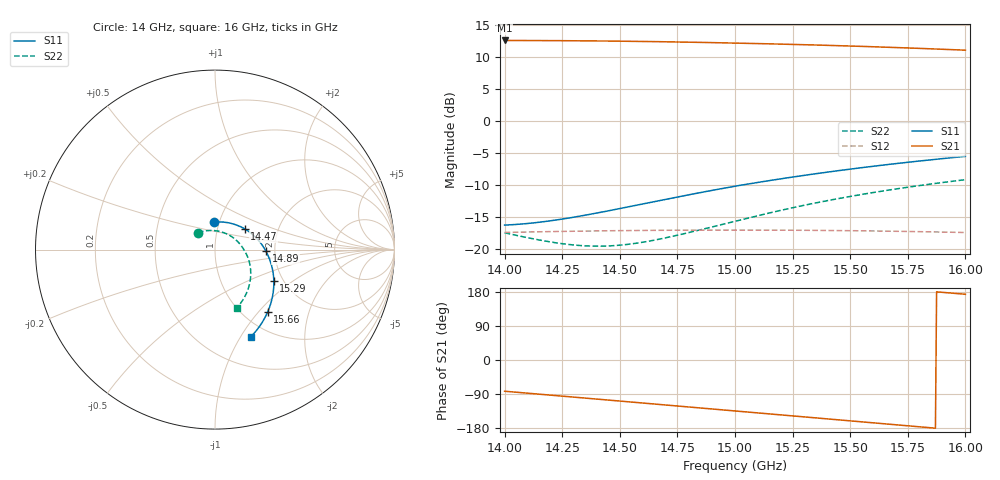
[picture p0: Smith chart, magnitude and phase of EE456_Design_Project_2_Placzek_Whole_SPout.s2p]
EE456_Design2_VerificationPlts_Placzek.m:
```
%-------------------------------------------------------------------
clc
close all
clear
%-------------------------------------------------------------------
G = 10^+9;
M = 10^+6;
%-------------------------------------------------------------------
% Problem Values
%-------------------------------------------------------------------
Z0 = 50;
ZT = 50;
f_min = 14*G;
f0 = 15*G;
f_max = 16*G;
df = 5*M;
theta_P = 90;

Input = 1;
theta_I1 = 43.2481;
theta_I2 = 10.4170;
Output = 3;
theta_O1 = 31.2559;
theta_O2 = 53.5158;
%-------------------------------------------------------------------
% Graph Formnating
%-------------------------------------------------------------------
NF = 28;
IFigure = 0;
P1=8;
M1=2*P1;
P2=P1/2;
M2=2*P2;
%-------------------------------------------------------------------
%  ADS DATA IN
%-------------------------------------------------------------------
[freq_MGF, S_MGF, Mult, ~, freq_Noise, Fmin_f_dB, Gamma_OPT_f, rn_f] = Read_SParam_s2p('MGF4941AL.s2p');
freq_MGF = freq_MGF * Mult;
I_f0S_MGF = ismember(freq_MGF, f0);
freq_Noise = freq_Noise * Mult;
In_f0S_MGF = ismember(freq_Noise, f0);

opts = delimitedTextImportOptions("NumVariables", 2);
opts.DataLines = [2, Inf];
opts.Delimiter = ",";
opts.VariableNames = ["freqReferencesnf2DependencyfreqNumPoints401MatrixSizeScalarType", "nf2ReferencesDependencyfreqNumPoints401MatrixSizeScalarTypeReal"];
opts.VariableTypes = ["double", "double"];
opts.ExtraColumnsRule = "ignore";
opts.EmptyLineRule = "read";
opts = setvaropts(opts, "freqReferencesnf2DependencyfreqNumPoints401MatrixSizeScalarType", "TrimNonNumeric", true);
opts = setvaropts(opts, "freqReferencesnf2DependencyfreqNumPoints401MatrixSizeScalarType", "ThousandsSeparator", ",");

% Import the data
ADS_Noise_Table = readtable("C:\Users\Adminimal\Documents\MATLAB\WNE_Matlab\bullshizzle\EE456_Dp2_Placzek_Finalrev\Noise_Data_Exported_From_ADS.csv", opts);
clear opts
bits=table2array(ADS_Noise_Table);
N=length(bits);
freq_noise_bs = transpose(bits(1:N,1));
FN_DB=transpose(bits(1:N,2));

% Import the data
% [~, S_IMN_ADS, ~] = Read_SParam_s2p('IMN Plot.s2p');
[~, S_IMN_ADS, ~] = Read_SParam_s2p('EE456_Design_Project_2_Placzek_IMN.s2p');
Gamma_S_ADS = S_IMN_ADS(:, 2, 2);

% Import the data
[freq_ADS, S_ADS, Mult_ADS, S_Type, bs, Fmin_dB_ADS, Gamma_OPT_ADS, rn_ADS] = Read_SParam_s2p('EE456_Design_Project_2_Placzek_Whole_SPout.s2p');
freq_ADS = freq_ADS * Mult_ADS;
I_f0_ADS = find(freq_ADS == f0);

% Import the data
[~, S_IMN_ADS, ~] = Read_SParam_s2p('EE456_Design_Project_2_Placzek_IMN.s2p');
Gamma_S_ADS = S_IMN_ADS(:, 2, 2);

% Import the data
[~, S_OMN_ADS, ~] = Read_SParam_s2p('EE456_Design_Project_2_Placzek_OMN.s2p');
Gamma_L_ADS = S_OMN_ADS(:, 1, 1);

% Import the data
[~, S_In_ADS, ~] = Read_SParam_s2p('EE456_Design_Project_2_Placzek_In.s2p');
Gamma_in_ADS = S_In_ADS(:, 1, 1);

% Import the data
[~, S_Out_ADS, ~] =  Read_SParam_s2p('EE456_Design_Project_2_Placzek_Out.s2p');
Gamma_out_ADS = S_Out_ADS(:, 2, 2);


%-------------------------------------------------------------------

S11 = S_MGF(:, 1, 1);
S11_Mag = abs(S11);
S11_dB = 20*log10(S11_Mag);
S21 = S_MGF(:, 2, 1);
S21_Mag = abs(S21);
S21_dB = 20*log10(S21_Mag);
S22 = S_MGF(:, 2, 2);
S22_Mag = abs(S22);
S22_dB = 20*log10(S22_Mag);
S12 = S_MGF(:, 1, 2);
S12_Mag = abs(S12);
S12_dB = 20*log10(S12_Mag);
%-------------------------------------------------------------------
S_f0(1:2, 1:2) = S_MGF(I_f0S_MGF, :, :);
S11_f0 = S11(I_f0S_MGF);
S11_f0_dB = S11_dB(I_f0S_MGF);
S21_f0 = S21(I_f0S_MGF);
S21_f0_dB = S21_dB(I_f0S_MGF);
S22_f0 = S22(I_f0S_MGF);
S22_f0_dB = S22_dB(I_f0S_MGF);
S12_f0 = S12(I_f0S_MGF);
S12_f0_dB = S12_dB(I_f0S_MGF);
S21_f0_Mag = abs(S21_f0);

%-------------------------------------------------------------------


%-------------------------------------------------------------------
S_MGF_f0(1:2, 1:2) = S_MGF(I_f0S_MGF, :, :);
S21_MGF_f0 = S_MGF_f0(2, 1);
S21_MGF_f0_Mag = abs(S21_MGF_f0);
S21_MGF_f0_dB = 20*log10(S21_MGF_f0_Mag);
Fmin_dB = Fmin_f_dB(In_f0S_MGF);

%-------------------------------------------------------------------
freq_MAT = f_min : df : f_max;
freq_MAT = freq_MAT';
I_f0_MAT = ismember(freq_MAT, f0);
N_Freq = length(freq_MAT);
S_MAT = zeros(N_Freq, 2, 2);
F_MAT_dB = zeros(size(freq_MAT));
Gamma_S_x = F_MAT_dB;

%------------------------------------------------------------------
% Cascading
% Input Matching Network,
% Device
% Output Matching Network
%-------------------------------------------------------------------
for kk = 1 : N_Freq
fk = freq_MAT(kk);
theta_P_fk = (fk / f0) * theta_P;
theta_I1_fk = (fk / f0) * theta_I1;
theta_I2_fk = (fk / f0) * theta_I2;
theta_O1_fx = (fk / f0) * theta_O1;
theta_O2_fx = (fk / f0) * theta_O2;
T0 =  EE456_ABCD_TRL(Z0, theta_P_fk);
TI1 = EE456_ABCD_Shunt_OC_Stub(Z0, theta_I1_fk);
TI2 = EE456_ABCD_TRL(Z0, theta_I2_fk);
TO2 = EE456_ABCD_TRL(Z0, theta_O2_fx);
TO1 = EE456_ABCD_Shunt_OC_Stub(Z0, theta_O1_fx);
T_IMN = T0*T0*TI1*TI2;
T_OMN = TO2*TO1*T0*T0;
Sx = S_Param_Interp(S_MGF, freq_MGF, fk);
Tx = S_to_ABCD(Sx, Z0);
T = T_IMN*Tx*T_OMN;
S_MAT(kk, :, :) = ABCD_to_S(T, [Z0 Z0]);
S_IMN = ABCD_to_S(T_IMN, Z0);
S_OMN = ABCD_to_S(T_OMN, Z0);
Gamma_S_x(kk) = S_IMN(2, 2);
Gamma_L_x(kk) = S_OMN(2, 2);
[Fmin_dB_x, Gamma_OPT_x, rn_x] = NF_Param_Interp(Fmin_f_dB, Gamma_OPT_f, rn_f, freq_Noise, fk);
Temp_Fmin_dB_x(kk)=Fmin_dB_x;
Temp_Gamma_OPT_x(kk)=Gamma_OPT_x;
Temp_rn_x(kk)=rn_x;

F_MAT_dB(kk) = F_Amp_Calc(Fmin_dB_x, rn_x, Gamma_OPT_x, Gamma_S_x(kk));
end
%-------------------------------------------------------------------

S11_MAT = S_MAT(:, 1, 1);
S11_MAT_Mag = abs(S11_MAT);
S11_MAT_dB = 20*log10(S11_MAT_Mag);
S21_MAT = S_MAT(:, 2, 1);
S21_MAT_Mag = abs(S21_MAT);
S21_MAT_dB = 20*log10(S21_MAT_Mag);
S22_MAT = S_MAT(:, 2, 2);
S22_MAT_Mag = abs(S22_MAT);
S22_MAT_dB = 20*log10(S22_MAT_Mag);
S12_MAT = S_MAT(:, 1, 2);
S12_MAT_Mag = abs(S12_MAT);
S12_MAT_dB = 20*log10(S12_MAT_Mag);

A=transpose(Gamma_S_x);
[x_Index, VI, Percent_Diff]=Find_Closest_Value(freq_MAT,f0);
Gamma_S_MAT_f0=A(VI);
A=transpose(Gamma_L_x);
Gamma_L_MAT_f0=A(VI);

%-------------------------------------------------------------------

S_MAT_f0(1:2, 1:2) = S_MAT(I_f0_MAT, :, :);
S11_MAT_f0 = S11_MAT(I_f0_MAT);
S11_MAT_f0_dB = S11_MAT_dB(I_f0_MAT);
S21_MAT_f0 = S21_MAT(I_f0_MAT);
S21_MAT_f0_dB = S21_MAT_dB(I_f0_MAT);
S22_MAT_f0 = S22_MAT(I_f0_MAT);
S22_MAT_f0_dB = S22_MAT_dB(I_f0_MAT);
S12_MAT_f0 = S12_MAT(I_f0_MAT);
S12_MAT_f0_dB = S12_MAT_dB(I_f0_MAT);
S21_MAT_f0_Mag = abs(S21_MAT_f0);
F_MAT_f0_dB = F_MAT_dB(I_f0_MAT);
Gamma_S_MAT = Gamma_S_x(I_f0_MAT);
Gamma_out_MAT_f0 = S22_MAT_f0 + (S12_MAT_f0 .* S21_MAT_f0 .* Gamma_S_MAT_f0) ./ (1 - S11_MAT_f0 .* Gamma_S_MAT_f0);
Gamma_in_MAT_f0 =S11_MAT_f0+(S12_MAT_f0.*S21_MAT_f0.*Gamma_L_MAT_f0)./(1-S22_MAT_f0.*Gamma_L_MAT_f0);

%-------------------------------------------------------------------

MGamma_IMN_MAT = S11_MAT_f0;
MGamma_IMN_MAT_db = 20*log10(MGamma_IMN_MAT);
%-------------------------------------------------------------------
MGamma_OMN_MAT = S22_MAT_f0;
MGamma_OMN_MAT_db = 20*log10(MGamma_OMN_MAT);
%-------------------------------------------------------------------
Num = 1 + S11_MAT_Mag;
Den = 1 - S11_MAT_Mag;
VSWR_IMN_MAT = Num ./ Den;
Num_OMN = 1 + S22_MAT_Mag;
Den_OMN = 1 - S22_MAT_Mag;
VSWR_OMN_MAT = Num_OMN ./ Den_OMN;
%-------------------------------------------------------------------
VSWR_IMN_MAT_f0 = VSWR_IMN_MAT(I_f0_MAT);
VSWR_OMN_MAT_f0 = VSWR_OMN_MAT(I_f0_MAT);
%-------------------------------------------------------------------
GT_MAT = abs(S21_MAT_f0)^2;
GTdb_MAT = 10*log10(GT_MAT);

S11_ADS = S_ADS(:, 1, 1);
S11_ADS_Mag = abs(S11_ADS);
S11_ADS_dB = 20*log10(S11_ADS_Mag);
S21_ADS = S_ADS(:, 2, 1);
S21_ADS_Mag = abs(S21_ADS);
S21_ADS_dB = 20*log10(S21_ADS_Mag);
S22_ADS = S_ADS(:, 2, 2);
S22_ADS_Mag = abs(S22_ADS);
S22_ADS_dB = 20*log10(S22_ADS_Mag);
S12_ADS = S_ADS(:, 1, 2);
S12_ADS_Mag = abs(S12_ADS);
S12_ADS_dB = 20*log10(S12_ADS_Mag);

%-------------------------------------------------------------------

S_ADS_f0(1:2, 1:2) = S_ADS(I_f0_ADS, :, :);
S11_ADS_f0 = S11_ADS(I_f0_ADS);
S11_ADS_f0_dB = S11_ADS_dB(I_f0_ADS);
S21_ADS_f0 = S21_ADS(I_f0_ADS);
S21_ADS_f0_dB = S21_ADS_dB(I_f0_ADS);
S22_ADS_f0 = S22_ADS(I_f0_ADS);
S22_ADS_f0_dB = S22_ADS_dB(I_f0_ADS);
S12_ADS_f0 = S12_ADS(I_f0_ADS);
S12_ADS_f0_dB = S12_ADS_dB(I_f0_ADS);
S21_ADS_f0_Mag = abs(S21_ADS_f0);

%-------------------------------------------------------------------
MGamma_IMN_ADS = S11_ADS_f0;
MGamma_IMN_ADS_db = 20*log10(MGamma_IMN_ADS);
%-------------------------------------------------------------------
MGamma_OMN_ADS = S22_ADS_f0;
MGamma_OMN_ADS_db = 20*log10(MGamma_OMN_ADS);
%-------------------------------------------------------------------
Num = 1 + S11_ADS_Mag;
Den = 1 - S11_ADS_Mag;
VSWR_IMN_ADS = Num ./ Den;
Num_OMN_ADS = 1 + S22_ADS_Mag;
Den_OMN_ADS = 1 - S22_ADS_Mag;
VSWR_OMN_ADS = Num_OMN_ADS ./ Den_OMN_ADS;
%-------------------------------------------------------------------
VSWR_IMN_ADS_f0 = VSWR_IMN_ADS(I_f0_ADS);
VSWR_OMN_ADS_f0 = VSWR_OMN_ADS(I_f0_ADS);
%-------------------------------------------------------------------
GT_ADS = abs(S21_ADS_f0)^2;
GTdb_ADS = 10*log10(GT_ADS);
%-------------------------------------------------------------------
% FIGURE 1: |S21|dB

F_ADS_dB = F_Amp_Calc(Fmin_dB_ADS, transpose(Temp_rn_x), transpose(Temp_Gamma_OPT_x), Gamma_S_ADS);

IFigure = IFigure + 1;
figure_max(IFigure)
plot(freq_ADS/G, S21_ADS_dB, 'r', 'linewidth', P1)
hold on
plot(f0/G, S21_ADS_f0_dB, 'ro', 'linewidth', M1)
hold on
plot(freq_MAT/G, S21_MAT_dB, 'g', 'linewidth', P2)
hold on
plot(f0/G, S21_MAT_f0_dB, 'go', 'linewidth', M2)
hold off
grid on
grid minor
xlabel('{\itf}   (GHz) ')
ylabel('| {\itS}_{21} |    ( dB ) ', ...
   'VerticalAlignment', 'bottom')
set(gca, 'FontName', 'times new roman', 'FontSize', NF)
axis([f_min/G, f_max/G, 11.25, 12.5])
ax = gca;
ax.XTick = f_min/G : 0.2 : f_max/G;
ax.YTick = 11.25 : 0.25 : 12.5;
set(gca, 'linewidth', 2.5)
title('S21')
legend('ADS {\itS}_{21}', '', 'MATLAB {\itS}_{21}' , '' , 'location', 'best')

%-------------------------------------------------------------------
% FIGURE 2: |S11|dB

IFigure = IFigure + 1;
figure_max(IFigure)
plot(freq_ADS/G, S11_ADS_dB, 'r', 'linewidth', P1)
hold on
plot(f0/G, S11_ADS_f0_dB, 'ro', 'linewidth', M1)
hold on
plot(freq_MAT/G, S11_MAT_dB, 'g', 'linewidth', P2)
hold on
plot(f0/G, S11_MAT_f0_dB, 'go', 'linewidth', M2)
hold off
grid on
grid minor
xlabel('{\itf}   (GHz) ')
ylabel('| {\itS}_{11} |    ( dB ) ', ...
   'VerticalAlignment', 'bottom')
set(gca, 'FontName', 'times new roman', 'FontSize', NF)
axis([f_min/G, f_max/G, -25, 0])
ax = gca;
ax.XTick = f_min/G : 0.2 : f_max/G;
ax.YTick = -25 : 5 : 0;
set(gca, 'linewidth', 2.5)
title('S11')
legend('ADS {\itS}_{11}', '', 'MATLAB {\itS}_{11}' , '' , 'location', 'best')

%-------------------------------------------------------------------
% FIGURE 3: |S22|dB

IFigure = IFigure + 1;
figure_max(IFigure)
plot(freq_ADS/G, S22_ADS_dB, 'r', 'linewidth', P1)
hold on
plot(f0/G, S22_ADS_f0_dB, 'ro', 'linewidth', M1)
hold on
plot(freq_MAT/G, S22_MAT_dB, 'g', 'linewidth', P2)
hold on
plot(f0/G, S22_MAT_f0_dB, 'go', 'linewidth', M2)
hold off
grid on
grid minor
xlabel('{\itf}   (GHz) ')
ylabel('| {\itS}_{22} |    ( dB ) ', ...
   'VerticalAlignment', 'bottom')
set(gca, 'FontName', 'times new roman', 'FontSize', NF)
axis([f_min/G, f_max/G, -25, 0])
ax = gca;
ax.XTick = f_min/G : 0.2 : f_max/G;
ax.YTick = -25 : 5 : 0;
set(gca, 'linewidth', 2.5)
title('S22')
legend('ADS {\itS}_{22}', '', 'MATLAB {\itS}_{22}' , '' , 'location', 'best')

%-------------------------------------------------------------------
% FIGURE 4: IMN VSWR Plot

IFigure = IFigure + 1;
figure_max(IFigure)
% Plot ADS IMN VSWR
plot(freq_ADS/G, VSWR_IMN_ADS, 'r', 'LineWidth', P1)
hold on
plot(f0/G, VSWR_IMN_ADS_f0, 'ro', 'LineWidth', M1, 'MarkerFaceColor', 'r')
% Plot MATLAB IMN VSWR
plot(freq_ADS/G, VSWR_IMN_MAT, 'g', 'LineWidth', P2)
plot(f0/G, VSWR_IMN_MAT_f0, 'go', 'LineWidth', M2, 'MarkerFaceColor', 'g')
grid on
grid minor
xlabel('{\itf} (GHz)')
ylabel('{\itVSWR} (V)')
title('VSWR – Input Matching Network (IMN)')
legend('ADS {\itVSWR}_{IMN}', ...
       'ADS {\itVSWR}_{IMN} @ {\itf} = {\itf}_0', ...
       'MATLAB {\itVSWR}_{IMN}', ...
       'MATLAB {\itVSWR}_{IMN} @ {\itf} = {\itf}_0', ...
       'Location', 'best')

set(gca, 'FontName', 'Times New Roman', 'FontSize', NF)
set(gca, 'LineWidth', 2.5)
axis([14, 16, 1, 2])
ax = gca;
ax.XTick = 14 : 0.25 : 16;
ax.YTick = 1 : 0.25 : 2;

%------------------------------------------------------------------------
% FIGURE 5: OMN VSWR Plot

IFigure = IFigure + 1;
figure_max(IFigure)
% Plot ADS OMN VSWR
plot(freq_ADS/G, VSWR_OMN_ADS, 'm', 'LineWidth', P1)
hold on
plot(f0/G, VSWR_OMN_ADS_f0, 'mo', 'LineWidth', M1, 'MarkerFaceColor', 'm')
% Plot MATLAB OMN VSWR
plot(freq_ADS/G, VSWR_OMN_MAT, 'c', 'LineWidth', P2)
plot(f0/G, VSWR_OMN_MAT_f0, 'co', 'LineWidth', M2, 'MarkerFaceColor', 'c')
grid on
grid minor
xlabel('{\itf} (GHz)')
ylabel('{\itVSWR} (V)')
title('VSWR – Output Matching Network (OMN)')
legend('ADS {\itVSWR}_{OMN}', ...
       'ADS {\itVSWR}_{OMN} @ {\itf} = {\itf}_0', ...
       'MATLAB {\itVSWR}_{OMN}', ...
       'MATLAB {\itVSWR}_{OMN} @ {\itf} = {\itf}_0', ...
       'Location', 'best')
set(gca, 'FontName', 'Times New Roman', 'FontSize', NF)
set(gca, 'LineWidth', 2.5)
axis([14, 16, 1, 2])
ax = gca;
ax.XTick = 14 : 0.25 : 16;
ax.YTick = 1 : 0.25 : 2;

%-------------------------------------------------------------------------
% FIGURE 6: Noise Plot

IFigure = IFigure + 1;
figure_max(IFigure)
hold on
[~, I] = min(abs(freq_noise_bs - f0/G));
% Plot ADS
h1 = plot(freq_noise_bs, FN_DB, 'r', 'linewidth', P1);
h2 = plot(f0/G, FN_DB(I), 'ro', 'MarkerSize', 16, 'MarkerFaceColor', 'r');
% Plot MATLAB
h3 = plot(freq_MAT/G, F_MAT_dB, 'g', 'linewidth', 4);
h4 = plot(f0/G, F_MAT_f0_dB, 'go', 'MarkerSize', 10, 'MarkerFaceColor', 'g');
grid on
grid minor
hold off
xlabel('{\itf}   (GHz)')
ylabel('Noise Figure (dB)')
title('Noise Figure')
set(gca, 'FontName', 'Times New Roman', 'FontSize', NF)
set(gca, 'LineWidth', 2)
MinY = 0.5;
MaxY = ceil(max([F_MAT_dB(:); FN_DB(:)]));
axis([f_min/G, f_max/G, 0.5, 0.7])
ax = gca;
ax.XTick = f_min/G : 0.25 : f_max/G;
ax.YTick = MinY : 0.05 : MaxY;
legend([h1 h2 h3 h4], ...
    'ADS {\itF}_{dB}', ...
    'ADS {\itF}_{dB}, {\itf} = {\itf}_0', ...
    'MATLAB {\itF}_{dB}', ...
    'MATLAB {\itF}_{dB}, {\itf} = {\itf}_0', ...
    'Location', 'best')

%-------------------------------------------------------------------------

Print_Title('EE456 Design Project 2 - ADS vs Matlab Simulated Values')

%-------------------------------------------------------------------------

Print_Text('MAT Lab Values')
Print_Polar('Gamma_in_MAT', Gamma_in_MAT_f0)
Print_Polar('Gamma_out_MAT', Gamma_out_MAT_f0)
Print_Real('MGamma_IMN_MAT_db', MGamma_IMN_MAT_db, 'dB')
Print_Real('MGamma_IMN_MAT', MGamma_IMN_MAT)
Print_Real('VSWR_IMN_MAT', VSWR_IMN_MAT_f0)
Print_Real('MGamma_OMN_MAT_db', MGamma_OMN_MAT_db, 'dB')
Print_Real('MGamma_OMN_MAT', MGamma_OMN_MAT)
Print_Real('VSWR_OMN_MAT', VSWR_OMN_MAT_f0)
Print_Real('GTdb_MAT', GTdb_MAT, 'dB')
Print_Real('GT_MAT', GT_MAT, 'W/W')
Print_Real('F MAT MAT',F_MAT_f0_dB)

%-------------------------------------------------------------------------

Print_Text('ADS Values')
Print_Polar('Gamma_in_ADS', Gamma_in_ADS)
Print_Polar('Gamma_out_ADS', Gamma_out_ADS)
Print_Real('MGamma_IMN_ADS_db', MGamma_IMN_ADS_db, 'dB')
Print_Real('MGamma_IMN_ADS', MGamma_IMN_ADS)
Print_Real('VSWR_IMN_ADS', VSWR_IMN_ADS_f0)
Print_Real('MGamma_OMN_ADS_db', MGamma_OMN_ADS_db, 'dB')
Print_Real('MGamma_OMN_ADS', MGamma_OMN_ADS)
Print_Real('VSWR_OMN_ADS', VSWR_OMN_ADS_f0)
Print_Real('GTdb_ADS', GTdb_ADS, 'dB')
Print_Real('F ADS',FN_DB(I))

%-------------------------------------------------------------------------
```
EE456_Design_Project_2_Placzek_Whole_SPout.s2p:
! Created Tue Mar 25 01:58:03 2025
# hz S ma R 50
! 2 Port Network Data from SP1.SP block
! freq  magS11  angS11  magS21  angS21  magS12  angS12  magS22  angS22
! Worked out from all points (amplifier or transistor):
!   401 points, 14 GHz to 16 GHz, reference 50 ohm
!   highest |S21| = 12.6 dB at 14 GHz (marker M1)
!   |S21| within 3 dB of that: start of sweep to end of sweep
!   unconditionally stable (mu >= 1): start of sweep to end of sweep
!   at 14.33 GHz: K = 1.10, MAG = 13.0 dB, |S12| = -17.3 dB
!   at 15 GHz: K = 1.08, MAG = 12.9 dB, |S12| = -17.1 dB
!   at 16 GHz: K = 1.04, MAG = 13.0 dB, |S12| = -17.5 dB
!   lowest NFmin = 0.40 dB at 14 GHz
!   S11 on the Smith chart (normalised r, x): 14 GHz: 0.95, +0.30; 14.47 GHz: 1.35, +0.33; 14.89 GHz: 1.79, -0.04; 15.29 GHz: 1.79, -0.72; 15.66 GHz: 1.29, -1.12; 16 GHz: 0.82, -1.11
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1.4e10  0.1525 91.6  4.247 -82.4  0.1337 -83.0  0.1327 135.3
1.424e10  0.169 61.2  4.231 -94.8  0.1361 -93.6  0.1097 103.7
1.4475e10  0.2013 35.1  4.198 -107.0  0.1379 -104.2  0.1054 66.4
1.468e10  0.2388 15.8  4.152 -117.8  0.1389 -113.5  0.1193 35.5
1.4895e10  0.284 -1.8  4.087 -129.2  0.1394 -123.3  0.1467 9.3
1.5e10  0.3075 -9.7  4.05 -134.8  0.1394 -128.1  0.163 -1.3
1.529e10  0.3715 -28.1  3.939 -149.9  0.139 -141.3  0.2161 -25.0
1.5475e10  0.4127 -39.0  3.855 -159.5  0.1381 -149.7  0.251 -37.8
1.566e10  0.4536 -49.5  3.76 -169.1  0.1368 -158.2  0.2854 -49.5
1.5825e10  0.4893 -58.6  3.669 -177.6  0.1353 -165.6  0.3153 -59.3
1.6e10  0.526 -67.9  3.565 173.4  0.1335 -173.5  0.3458 -69.2
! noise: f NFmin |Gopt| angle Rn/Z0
1.4e+10  0.4  0.3457  131.6  0.09524
1.422e+10  0.4099  0.3259  138.3  0.09162
1.444e+10  0.4198  0.3042  144.8  0.08963
1.466e+10  0.4299  0.2801  150.9  0.08937
1.488e+10  0.4398  0.2548  156.3  0.09069
1.511e+10  0.45  0.2276  160.7  0.09326
1.533e+10  0.4598  0.2006  163.5  0.09639
1.556e+10  0.47  0.1742  163.9  0.09952
1.578e+10  0.4799  0.1523  160.8  0.1018
1.6e+10  0.49  0.1385  153.4  0.1028
